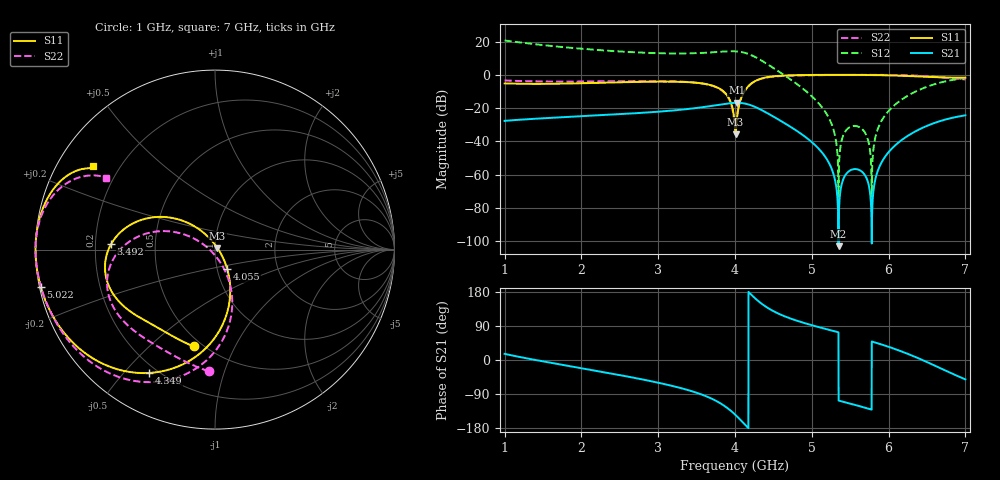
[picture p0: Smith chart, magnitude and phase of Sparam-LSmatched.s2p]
# Hz S RI R 50
! Freq.	S11(V2)	S12(V2)	S21(V2)	S22(V2)
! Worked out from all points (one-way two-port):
!   8452 points, 1 GHz to 7 GHz, reference 50 ohm
!   highest |S21| = -16.81 dB at 4.023 GHz (marker M1); lowest = -103.1 dB at 5.348 GHz (marker M2)
!   lowest |S11| = -35.8 dB at 4.008 GHz (marker M3), VSWR 1.03, Z = 51.3 + j0.962 ohm
!   |S11| at or under -10 dB: 3.851 GHz to 4.123 GHz (271.6 MHz wide, 6.81 % of centre)
!   |S22| runs from -33.4 to 0.0 dB; largest |S21 - S12| = 11
!   S11 on the Smith chart (normalised r, x): 1 GHz: 0.45, -0.70; 3.492 GHz: 0.27, +0.02; 4.055 GHz: 1.12, -0.24; 4.349 GHz: 0.17, -0.59; 5.022 GHz: 0.00, -0.11; 7 GHz: 0.10, +0.31
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1e9  -0.1186 -0.5396  0.0396 0.0115  2.09 10.62  -0.0348 -0.6783
1.202818e9  -0.2007 -0.5013  0.0443 0.00599  3.896 8.568  -0.1388 -0.6363
1.427907e9  -0.2686 -0.4638  0.0482 -0.000796  5.045 6.442  -0.2255 -0.5927
2.000322e9  -0.3994 -0.3902  0.053 -0.0209  5.723 2.124  -0.3843 -0.4991
2.458103e9  -0.4968 -0.3253  0.051 -0.0401  5.104 -0.3139  -0.4868 -0.4211
3.000544e9  -0.5957 -0.1918  0.039 -0.0674  3.779 -2.398  -0.5826 -0.2853
3.492207e9  -0.5788 0.0308  0.00719 -0.0999  1.983 -4.019  -0.5759 -0.0712
3.828247e9  -0.2966 0.1823  -0.0583 -0.1164  -0.6681 -4.941  -0.3232 0.1012
4.000369e9  0.00212 0.0249  -0.1163 -0.085  -3.041 -4.111  -0.0219 -0.00813
4.007744e9  0.0132 0.00937  -0.1185 -0.0822  -3.139 -4.023  -0.00942 -0.0211
4.022537e9  0.0335 -0.024  -0.1226 -0.0762  -3.328 -3.832  0.0142 -0.0496
4.055085e9  0.068 -0.1074  -0.1299 -0.0614  -3.692 -3.345  0.058 -0.1225
4.177342e9  0.0185 -0.4621  -0.1281 0.00123  -4.069 -1.113  0.0636 -0.4596
4.349106e9  -0.3686 -0.6873  -0.0735 0.0456  -2.535 0.7934  -0.258 -0.7265
4.615301e9  -0.7801 -0.5295  -0.0182 0.0343  -0.6943 0.8178  -0.6565 -0.6515
5.000345e9  -0.9664 -0.2227  -0.0003 0.00944  -0.0452 0.2222  -0.8795 -0.4159
5.022269e9  -0.971 -0.2073  -8.57e-05 0.00852  -0.0356 0.1998  -0.8868 -0.4035
5.348106e9  -1 0.000301  -2.05e-06 -6.7e-06  -2.48e-05 -0.000147  -0.9633 -0.228
5.559043e9  -0.9899 0.1186  -0.000695 -0.00129  -0.011 -0.0269  -0.9898 -0.118
5.786287e9  -0.9576 0.2336  5.48e-05 6.21e-05  0.000915 0.00123  -1 0.00323
6.000674e9  -0.9074 0.3272  0.00389 0.0027  0.0645 0.0511  -0.9873 0.1219
7e9  -0.6809 0.4659  0.038 -0.0472  0.4853 -0.6328  -0.607 0.401
